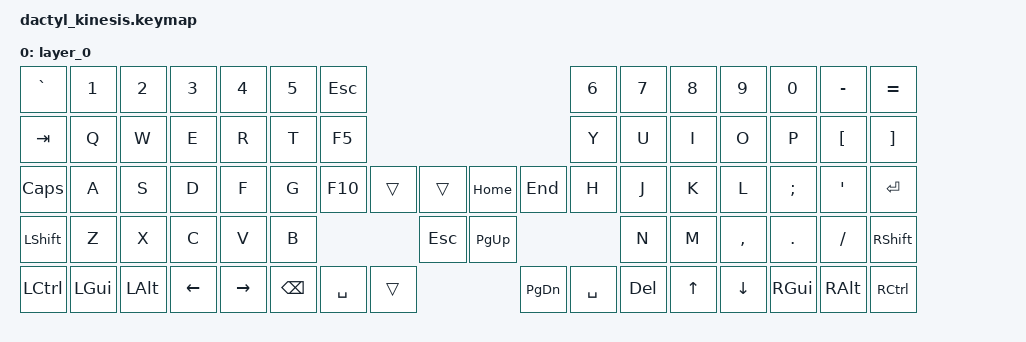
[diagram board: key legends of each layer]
#include <dt-bindings/zmk/keys.h>

/ {
    keymap {
        compatible = "zmk,keymap";

        layer_0 {
            bindings = <
&kp GRAVE  &kp N1    &kp N2    &kp N3    &kp N4     &kp N5  &kp ESC                                                                 &kp N6  &kp N7  &kp N8  &kp N9     &kp N0    &kp MINUS  &kp EQUAL
&kp TAB    &kp Q     &kp W     &kp E     &kp R      &kp T   &kp F5                                                                  &kp Y   &kp U   &kp I   &kp O      &kp P     &kp LBKT   &kp RBKT
&kp CAPS   &kp A     &kp S     &kp D     &kp F      &kp G   &kp F10            &trans     &trans     &kp HOME   &kp END             &kp H   &kp J   &kp K   &kp L      &kp SEMI  &kp SQT    &kp RET
&kp LSHFT  &kp Z     &kp X     &kp C     &kp V      &kp B                                 &kp ESC    &kp PG_UP                              &kp N   &kp M   &kp COMMA  &kp DOT   &kp FSLH   &kp RSHFT
&kp LCTRL  &kp LGUI  &kp LALT  &kp LEFT  &kp RIGHT                   &kp BSPC  &kp SPACE  &trans     &kp PG_DN  &kp SPACE  &kp DEL                  &kp UP  &kp DOWN   &kp RGUI  &kp RALT   &kp RCTRL
            >;
        };
    };
};
